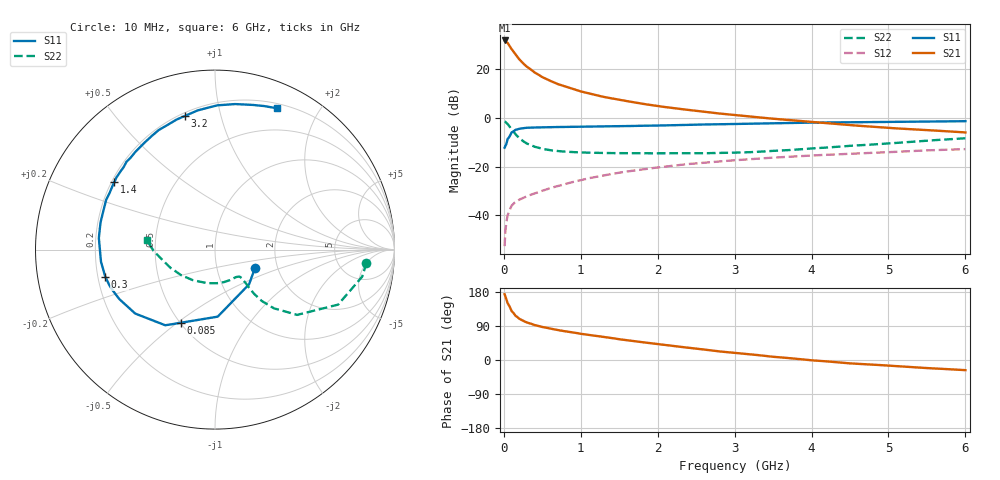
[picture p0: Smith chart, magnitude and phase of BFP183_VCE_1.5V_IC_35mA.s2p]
! Infineon Technologies  Discrete & RF Semiconductors
! BFP183
! VCE = 1.5 V,  IC =  35 mA
! Common Emitter S-Parameters:  Jan 2016
# GHz  S  MA  R  50
!  f  S11  S21  S12  S22
! GHz  MAG  ANG  MAG  ANG  MAG  ANG  MAG  ANG
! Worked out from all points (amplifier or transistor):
!   210 points, 10 MHz to 6 GHz, reference 50 ohm
!   highest |S21| = 31.9 dB at 10 MHz (marker M1)
!   |S21| within 3 dB of that: start of sweep to 89.02 MHz
!   unconditionally stable (mu >= 1): start of sweep to 15.22 MHz; 344.3 MHz to end of sweep
!   at 185 MHz: K = 0.71, MSG = 29.4 dB, |S12| = -33.9 dB
!   at 1.52 GHz: K = 1.44, MAG = 11.0 dB, |S12| = -22.4 dB
!   at 6 GHz: K = 1.13, MAG = 1.3 dB, |S12| = -12.8 dB
!   S11 on the Smith chart (normalised r, x): 10 MHz: 1.53, -0.33; 85 MHz: 0.51, -0.52; 300 MHz: 0.23, -0.12; 1.4 GHz: 0.21, +0.29; 3.2 GHz: 0.22, +0.78; 6 GHz: 0.25, +1.50
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0.01  0.245 -24.3  39.49 173.5  0.0023 75.2  0.8471 -5.0
0.02  0.2712 -45.6  39.14 167.2  0.0048 70.7  0.8339 -10.4
0.05  0.3739 -87.7  35 149.6  0.01 68.0  0.7512 -24.1
0.085  0.4491 -114.9  28.58 136.7  0.0138 55.1  0.6299 -33.4
0.1  0.5044 -123.3  26.41 129.4  0.0156 51.6  0.5845 -38.5
0.15  0.5698 -141.3  20.38 117.1  0.0187 48.0  0.4638 -44.9
0.2  0.6003 -152.7  16.22 108.9  0.0208 46.7  0.3857 -47.7
0.26  0.6213 -161.5  12.94 102.4  0.0229 47.1  0.3268 -48.5
0.3  0.6298 -166.1  11.34 98.9  0.0246 48.4  0.2978 -48.4
0.4  0.6388 -174.0  8.676 92.2  0.028 51.1  0.2565 -47.6
0.5  0.6422 179.5  6.95 87.1  0.0317 52.4  0.2319 -47.2
0.6  0.6503 174.3  5.854 82.9  0.0358 55.0  0.2174 -47.0
0.7  0.6519 170.2  5.006 79.0  0.0397 56.6  0.2086 -47.3
0.8  0.6555 166.4  4.426 75.6  0.0439 57.2  0.2029 -48.0
1.02  0.6619 158.0  3.466 68.6  0.0534 58.3  0.195 -51.0
1.4  0.6757 146.3  2.534 58.0  0.0702 57.4  0.1895 -58.7
2.02  0.7022 129.3  1.742 41.4  0.0969 52.7  0.1878 -75.0
3.1  0.759 104.6  1.113 16.9  0.1385 42.4  0.1954 -112.3
3.2  0.7634 102.7  1.074 15.0  0.142 41.4  0.1981 -115.9
4.1  0.8059 87.7  0.805 -2.2  0.1721 32.4  0.241 -146.0
5.1  0.8336 75.2  0.612 -16.0  0.2013 23.9  0.307 -171.3
6  0.8598 66.3  0.505 -26.8  0.2287 14.6  0.3829 172.2
